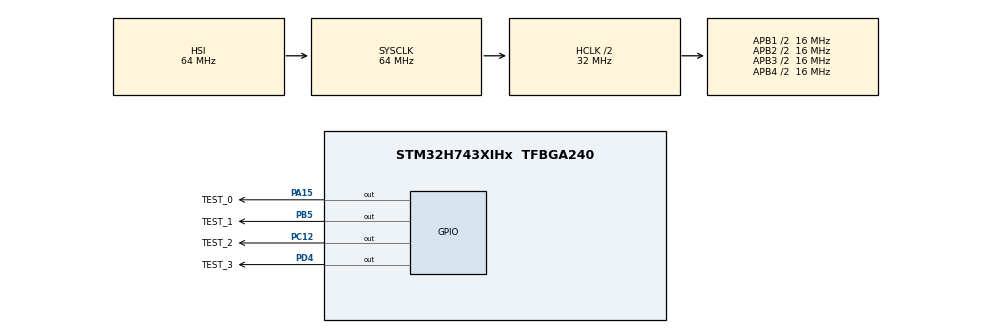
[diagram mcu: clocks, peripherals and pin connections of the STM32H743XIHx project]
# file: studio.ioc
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CORTEX_M7.default_mode_Activation=1
Mcu.Family=STM32H7
Mcu.Name=STM32H743XIHx
Mcu.Package=TFBGA240
NVIC.PriorityGroup=NVIC_PRIORITYGROUP_4
NVIC.TIM16_IRQn=true\:0\:0\:false\:false\:true\:true\:true\:true
NVIC.TIM17_IRQn=true\:0\:0\:false\:false\:true\:true\:true\:true
NVIC.TIM1_BRK_IRQn=true\:0\:0\:false\:false\:true\:true\:true\:true
NVIC.TIM1_TRG_COM_IRQn=true\:0\:0\:false\:false\:true\:true\:true\:true
NVIC.TIM1_UP_IRQn=true\:0\:0\:false\:false\:true\:true\:true\:true
NVIC.TIM2_IRQn=true\:0\:0\:false\:false\:true\:true\:true\:true
PA15\ (JTDI).GPIO_Label=TEST_0
PA15\ (JTDI).GPIO_PuPd=GPIO_PULLUP
PA15\ (JTDI).GPIO_Speed=GPIO_SPEED_FREQ_LOW
PA15\ (JTDI).Signal=GPIO_Output
PB5.GPIO_Label=TEST_1
PB5.GPIO_PuPd=GPIO_PULLUP
PB5.GPIO_Speed=GPIO_SPEED_FREQ_LOW
PB5.Signal=GPIO_Output
PC12.GPIO_Label=TEST_2
PC12.GPIO_PuPd=GPIO_PULLUP
PC12.GPIO_Speed=GPIO_SPEED_FREQ_LOW
PC12.Signal=GPIO_Output
PD4.GPIO_Label=TEST_3
PD4.GPIO_PuPd=GPIO_PULLUP
PD4.GPIO_Speed=GPIO_SPEED_FREQ_LOW
PD4.Signal=GPIO_Output
PH0-OSC_IN\ (PH0).Mode=HSE-External-Oscillator
PH0-OSC_IN\ (PH0).Signal=RCC_OSC_IN
PH1-OSC_OUT\ (PH1).Mode=HSE-External-Oscillator
PH1-OSC_OUT\ (PH1).Signal=RCC_OSC_OUT
ProjectManager.HeapSize=0x200
ProjectManager.StackSize=0x400
ProjectManager.TargetToolchain=CMake
RCC.ADCFreq_Value=24768000
RCC.APB1Freq_Value=16000000
RCC.APB2Freq_Value=16000000
RCC.APB3Freq_Value=16000000
RCC.APB4Freq_Value=16000000
RCC.CortexFreq_Value=64000000
RCC.D1PPRE=RCC_APB3_DIV2
RCC.D2PPRE1=RCC_APB1_DIV2
RCC.D2PPRE2=RCC_APB2_DIV2
RCC.D3PPRE=RCC_APB4_DIV2
RCC.DIVM1=1
RCC.DIVN1=60
RCC.HCLKFreq_Value=32000000
RCC.HPRE=RCC_HCLK_DIV2
RCC.HSE_VALUE=12288000
RCC.PLLSourceVirtual=RCC_PLLSOURCE_HSE
RCC.SYSCLKFreq_VALUE=64000000
RCC.USBFreq_Value=368640000
STMicroelectronics.X-CUBE-AZRTOS-H7.3.5.0_IsAnAzureRtosMw=true
TIM1.Period=50000
TIM16.Period=50000
TIM17.Period=50000
TIM2.Period=50000
VP_MEMORYMAP_VS_MEMORYMAP.Mode=CurAppReg
VP_TIM16_VS_ClockSourceINT.Mode=Enable_Timer
VP_TIM17_VS_ClockSourceINT.Mode=Enable_Timer
VP_TIM1_VS_ClockSourceINT.Mode=Internal
VP_TIM2_VS_ClockSourceINT.Mode=Internal
board=custom

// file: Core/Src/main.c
/* USER CODE BEGIN Header */
/**
  ******************************************************************************
  * @file           : main.c
  * @brief          : Main program body
  ******************************************************************************
  * @attention
  *
  * Copyright (c) 2026 STMicroelectronics.
  * All rights reserved.
  *
  * This software is licensed under terms that can be found in the LICENSE file
  * in the root directory of this software component.
  * If no LICENSE file comes with this software, it is provided AS-IS.
  *
  ******************************************************************************
  */
/* USER CODE END Header */
#include "main.h"
#include <stdint.h>
#include <stdio.h>
#include <ptOS.h>
/* USER CODE BEGIN Includes */
extern uint32_t asm_twoadd(uint32_t a, uint32_t b);
extern uint32_t asm_threeadd(uint32_t a, uint32_t b, uint32_t c);
/* USER CODE END Includes */

TIM_HandleTypeDef htim1;
TIM_HandleTypeDef htim2;
TIM_HandleTypeDef htim16;
TIM_HandleTypeDef htim17;

void SystemClock_Config(void);
static void MPU_Config(void);
static void MX_GPIO_Init(void);
static void MX_TIM1_Init(void);
static void MX_TIM2_Init(void);
static void MX_TIM16_Init(void);
static void MX_TIM17_Init(void);
/* USER CODE BEGIN PFP */
/* Prototype for TIM blink helper (implemented in User/Src/tim.c) */
void TIM_Blink_Start(void);
/* USER CODE END PFP */

/* USER CODE BEGIN 0 */

int add(void) {
    static int a = 777;
    return a++;
};
/* USER CODE END 0 */

int main(void)
{
// int a = 1;
  /* USER CODE BEGIN 1 */
//     uint32_t a = 10;
// uint32_t b = 20;
// uint32_t result;
//
// __asm volatile (
//     "add %[result], %[a], %[b]"
//     : [result] "=r" (result)
//     : [a] "r" (a),
//       [b] "r" (b)
// );

  /* USER CODE END 1 */

  /* MPU Configuration--------------------------------------------------------*/
  MPU_Config();

  /* MCU Configuration--------------------------------------------------------*/

  /* Reset of all peripherals, Initializes the Flash interface and the Systick. */
  HAL_Init();

  /* Configure the system clock */
  SystemClock_Config();

  /* Initialize all configured peripherals */
  MX_GPIO_Init();
  MX_TIM1_Init();
  MX_TIM2_Init();
  MX_TIM16_Init();
  MX_TIM17_Init();
  /* USER CODE BEGIN 2 */
    HAL_TIM_Base_Start_IT(&htim1);
    HAL_TIM_Base_Start_IT(&htim2);
    HAL_TIM_Base_Start_IT(&htim16);
    HAL_TIM_Base_Start_IT(&htim17);
    HAL_NVIC_SetPriority(SysTick_IRQn, 14, 0);
    HAL_NVIC_SetPriority(PendSV_IRQn, 15, 0);
    pt_kernel_initialize();
    pt_kernel_start();
  /* USER CODE END 2 */

  /* Infinite loop */
  while (1)
  {

  }
}

void SystemClock_Config(void)
{
  RCC_OscInitTypeDef RCC_OscInitStruct = {0};
  RCC_ClkInitTypeDef RCC_ClkInitStruct = {0};

  /** Supply configuration update enable
  */
  HAL_PWREx_ConfigSupply(PWR_LDO_SUPPLY);

  /** Configure the main internal regulator output voltage
  */
  __HAL_PWR_VOLTAGESCALING_CONFIG(PWR_REGULATOR_VOLTAGE_SCALE3);

  while(!__HAL_PWR_GET_FLAG(PWR_FLAG_VOSRDY)) {}

  /** Initializes the RCC Oscillators according to the specified parameters
  * in the RCC_OscInitTypeDef structure.
  */
  RCC_OscInitStruct.OscillatorType = RCC_OSCILLATORTYPE_HSI;
  RCC_OscInitStruct.HSIState = RCC_HSI_DIV1;
  RCC_OscInitStruct.HSICalibrationValue = RCC_HSICALIBRATION_DEFAULT;
  RCC_OscInitStruct.PLL.PLLState = RCC_PLL_NONE;
  if (HAL_RCC_OscConfig(&RCC_OscInitStruct) != HAL_OK)
  {
    Error_Handler();
  }

  /** Initializes the CPU, AHB and APB buses clocks
  */
  RCC_ClkInitStruct.ClockType = RCC_CLOCKTYPE_HCLK|RCC_CLOCKTYPE_SYSCLK
                              |RCC_CLOCKTYPE_PCLK1|RCC_CLOCKTYPE_PCLK2
                              |RCC_CLOCKTYPE_D3PCLK1|RCC_CLOCKTYPE_D1PCLK1;
  RCC_ClkInitStruct.SYSCLKSource = RCC_SYSCLKSOURCE_HSI;
  RCC_ClkInitStruct.SYSCLKDivider = RCC_SYSCLK_DIV1;
  RCC_ClkInitStruct.AHBCLKDivider = RCC_HCLK_DIV2;
  RCC_ClkInitStruct.APB3CLKDivider = RCC_APB3_DIV2;
  RCC_ClkInitStruct.APB1CLKDivider = RCC_APB1_DIV2;
  RCC_ClkInitStruct.APB2CLKDivider = RCC_APB2_DIV2;
  RCC_ClkInitStruct.APB4CLKDivider = RCC_APB4_DIV2;

  if (HAL_RCC_ClockConfig(&RCC_ClkInitStruct, FLASH_LATENCY_0) != HAL_OK)
  {
    Error_Handler();
  }
}

static void MX_TIM1_Init(void)
{

  TIM_ClockConfigTypeDef sClockSourceConfig = {0};
  TIM_MasterConfigTypeDef sMasterConfig = {0};

  htim1.Instance = TIM1;
  htim1.Init.Prescaler = 0;
  htim1.Init.CounterMode = TIM_COUNTERMODE_UP;
  htim1.Init.Period = 50000;
  htim1.Init.ClockDivision = TIM_CLOCKDIVISION_DIV1;
  htim1.Init.RepetitionCounter = 0;
  htim1.Init.AutoReloadPreload = TIM_AUTORELOAD_PRELOAD_DISABLE;
  if (HAL_TIM_Base_Init(&htim1) != HAL_OK)
  {
    Error_Handler();
  }
  sClockSourceConfig.ClockSource = TIM_CLOCKSOURCE_INTERNAL;
  if (HAL_TIM_ConfigClockSource(&htim1, &sClockSourceConfig) != HAL_OK)
  {
    Error_Handler();
  }
  sMasterConfig.MasterOutputTrigger = TIM_TRGO_RESET;
  sMasterConfig.MasterOutputTrigger2 = TIM_TRGO2_RESET;
  sMasterConfig.MasterSlaveMode = TIM_MASTERSLAVEMODE_DISABLE;
  if (HAL_TIMEx_MasterConfigSynchronization(&htim1, &sMasterConfig) != HAL_OK)
  {
    Error_Handler();
  }

}

static void MX_TIM2_Init(void)
{

  TIM_ClockConfigTypeDef sClockSourceConfig = {0};
  TIM_MasterConfigTypeDef sMasterConfig = {0};

  htim2.Instance = TIM2;
  htim2.Init.Prescaler = 0;
  htim2.Init.CounterMode = TIM_COUNTERMODE_UP;
  htim2.Init.Period = 50000;
  htim2.Init.ClockDivision = TIM_CLOCKDIVISION_DIV1;
  htim2.Init.AutoReloadPreload = TIM_AUTORELOAD_PRELOAD_DISABLE;
  if (HAL_TIM_Base_Init(&htim2) != HAL_OK)
  {
    Error_Handler();
  }
  sClockSourceConfig.ClockSource = TIM_CLOCKSOURCE_INTERNAL;
  if (HAL_TIM_ConfigClockSource(&htim2, &sClockSourceConfig) != HAL_OK)
  {
    Error_Handler();
  }
  sMasterConfig.MasterOutputTrigger = TIM_TRGO_RESET;
  sMasterConfig.MasterSlaveMode = TIM_MASTERSLAVEMODE_DISABLE;
  if (HAL_TIMEx_MasterConfigSynchronization(&htim2, &sMasterConfig) != HAL_OK)
  {
    Error_Handler();
  }

}

static void MX_TIM16_Init(void)
{

  htim16.Instance = TIM16;
  htim16.Init.Prescaler = 0;
  htim16.Init.CounterMode = TIM_COUNTERMODE_UP;
  htim16.Init.Period = 50000;
  htim16.Init.ClockDivision = TIM_CLOCKDIVISION_DIV1;
  htim16.Init.RepetitionCounter = 0;
  htim16.Init.AutoReloadPreload = TIM_AUTORELOAD_PRELOAD_DISABLE;
  if (HAL_TIM_Base_Init(&htim16) != HAL_OK)
  {
    Error_Handler();
  }

}

static void MX_TIM17_Init(void)
{

  htim17.Instance = TIM17;
  htim17.Init.Prescaler = 0;
  htim17.Init.CounterMode = TIM_COUNTERMODE_UP;
  htim17.Init.Period = 50000;
  htim17.Init.ClockDivision = TIM_CLOCKDIVISION_DIV1;
  htim17.Init.RepetitionCounter = 0;
  htim17.Init.AutoReloadPreload = TIM_AUTORELOAD_PRELOAD_DISABLE;
  if (HAL_TIM_Base_Init(&htim17) != HAL_OK)
  {
    Error_Handler();
  }

}

static void MX_GPIO_Init(void)
{
  GPIO_InitTypeDef GPIO_InitStruct = {0};

  /* GPIO Ports Clock Enable */
  __HAL_RCC_GPIOB_CLK_ENABLE();
  __HAL_RCC_GPIOD_CLK_ENABLE();
  __HAL_RCC_GPIOA_CLK_ENABLE();
  __HAL_RCC_GPIOC_CLK_ENABLE();
  __HAL_RCC_GPIOH_CLK_ENABLE();

  /*Configure GPIO pin Output Level */
  HAL_GPIO_WritePin(TEST_1_GPIO_Port, TEST_1_Pin, GPIO_PIN_RESET);

  /*Configure GPIO pin Output Level */
  HAL_GPIO_WritePin(TEST_3_GPIO_Port, TEST_3_Pin, GPIO_PIN_RESET);

  /*Configure GPIO pin Output Level */
  HAL_GPIO_WritePin(TEST_0_GPIO_Port, TEST_0_Pin, GPIO_PIN_RESET);

  /*Configure GPIO pin Output Level */
  HAL_GPIO_WritePin(TEST_2_GPIO_Port, TEST_2_Pin, GPIO_PIN_RESET);

  /*Configure GPIO pin : TEST_1_Pin */
  GPIO_InitStruct.Pin = TEST_1_Pin;
  GPIO_InitStruct.Mode = GPIO_MODE_OUTPUT_PP;
  GPIO_InitStruct.Pull = GPIO_PULLUP;
  GPIO_InitStruct.Speed = GPIO_SPEED_FREQ_LOW;
  HAL_GPIO_Init(TEST_1_GPIO_Port, &GPIO_InitStruct);

  /*Configure GPIO pin : TEST_3_Pin */
  GPIO_InitStruct.Pin = TEST_3_Pin;
  GPIO_InitStruct.Mode = GPIO_MODE_OUTPUT_PP;
  GPIO_InitStruct.Pull = GPIO_PULLUP;
  GPIO_InitStruct.Speed = GPIO_SPEED_FREQ_LOW;
  HAL_GPIO_Init(TEST_3_GPIO_Port, &GPIO_InitStruct);

  /*Configure GPIO pin : TEST_0_Pin */
  GPIO_InitStruct.Pin = TEST_0_Pin;
  GPIO_InitStruct.Mode = GPIO_MODE_OUTPUT_PP;
  GPIO_InitStruct.Pull = GPIO_PULLUP;
  GPIO_InitStruct.Speed = GPIO_SPEED_FREQ_LOW;
  HAL_GPIO_Init(TEST_0_GPIO_Port, &GPIO_InitStruct);

  /*Configure GPIO pin : TEST_2_Pin */
  GPIO_InitStruct.Pin = TEST_2_Pin;
  GPIO_InitStruct.Mode = GPIO_MODE_OUTPUT_PP;
  GPIO_InitStruct.Pull = GPIO_PULLUP;
  GPIO_InitStruct.Speed = GPIO_SPEED_FREQ_LOW;
  HAL_GPIO_Init(TEST_2_GPIO_Port, &GPIO_InitStruct);

}

 /* MPU Configuration */

void MPU_Config(void)
{
  MPU_Region_InitTypeDef MPU_InitStruct = {0};

  /* Disables the MPU */
  HAL_MPU_Disable();

  /** Initializes and configures the Region and the memory to be protected
  */
  MPU_InitStruct.Enable = MPU_REGION_ENABLE;
  MPU_InitStruct.Number = MPU_REGION_NUMBER0;
  MPU_InitStruct.BaseAddress = 0x0;
  MPU_InitStruct.Size = MPU_REGION_SIZE_4GB;
  MPU_InitStruct.SubRegionDisable = 0x87;
  MPU_InitStruct.TypeExtField = MPU_TEX_LEVEL0;
  MPU_InitStruct.AccessPermission = MPU_REGION_NO_ACCESS;
  MPU_InitStruct.DisableExec = MPU_INSTRUCTION_ACCESS_DISABLE;
  MPU_InitStruct.IsShareable = MPU_ACCESS_SHAREABLE;
  MPU_InitStruct.IsCacheable = MPU_ACCESS_NOT_CACHEABLE;
  MPU_InitStruct.IsBufferable = MPU_ACCESS_NOT_BUFFERABLE;

  HAL_MPU_ConfigRegion(&MPU_InitStruct);
  /* Enables the MPU */
  HAL_MPU_Enable(MPU_PRIVILEGED_DEFAULT);

}

void Error_Handler(void)
{
  __disable_irq();
  while (1)
  {
  }
}
